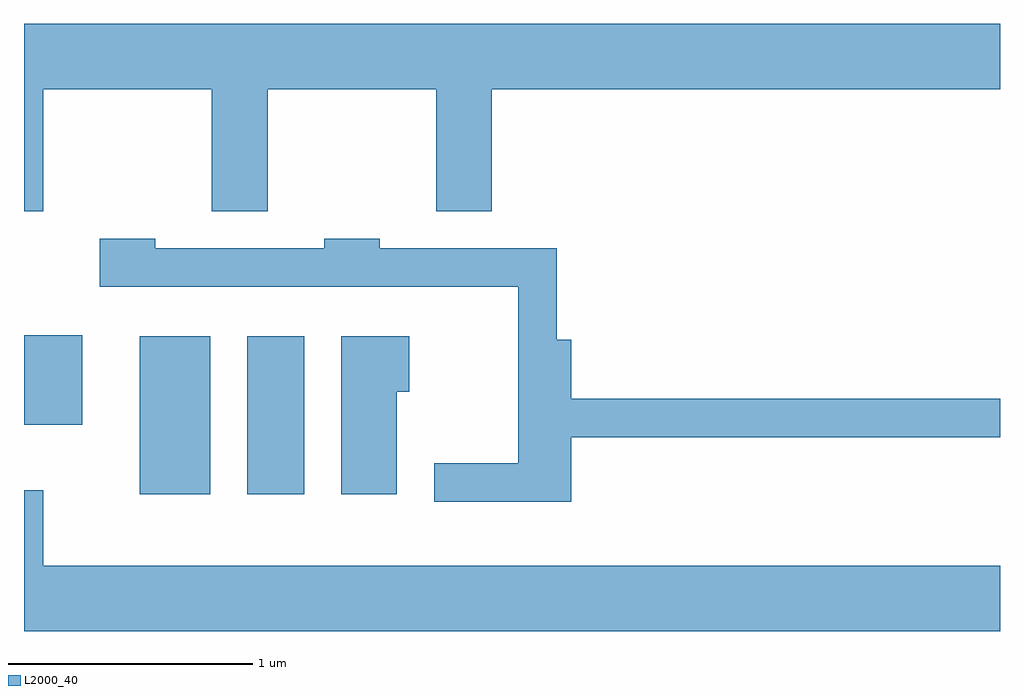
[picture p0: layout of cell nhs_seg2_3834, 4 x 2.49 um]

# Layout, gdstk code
import gdstk
lib = gdstk.Library(unit=1e-6, precision=1e-09)
def R(c, l, rs):  # rectangles x0, y0, x1, y1
    for r in rs: c.add(gdstk.rectangle(r[:2], r[2:], *l))
def P(c, l, *ps):  # polygons
    for p in ps: c.add(gdstk.Polygon(p, *l))
L2000_40 = (2000, 40)

nhs_seg2_3834 = lib.new_cell('nhs_seg2_3834')
R(nhs_seg2_3834, L2000_40, [(298.086,1051.096,298.374,1051.744), (298.526,1051.096,298.759,1051.744), (297.611,1051.381,297.849,1051.749)])
P(nhs_seg2_3834, L2000_40, [(297.611,1052.256),(297.689,1052.256),(297.689,1052.756),(298.381,1052.756),(298.381,1052.256),(298.609,1052.256),(298.609,1052.756),(299.301,1052.756),(299.301,1052.256),(299.529,1052.256),(299.529,1052.756),(301.611,1052.756),(301.611,1053.024),(297.611,1053.024)],
  [(299.854,1051.331),(301.611,1051.331),(301.611,1051.489),(299.854,1051.489),(299.854,1051.729),(299.794,1051.729),(299.794,1052.104),(299.069,1052.104),(299.069,1052.144),(298.841,1052.144),(298.841,1052.104),(298.149,1052.104),(298.149,1052.144),(297.921,1052.144),(297.921,1051.946),(299.636,1051.946),(299.636,1051.224),(299.293,1051.224),(299.293,1051.066),(299.854,1051.066)],
  [(299.139,1051.516),(299.189,1051.516),(299.189,1051.744),(298.911,1051.744),(298.911,1051.096),(299.139,1051.096)],
  [(301.611,1050.804),(297.689,1050.804),(297.689,1051.114),(297.611,1051.114),(297.611,1050.536),(301.611,1050.536)])

lib.write_gds('nhs_seg2_3834.gds')
